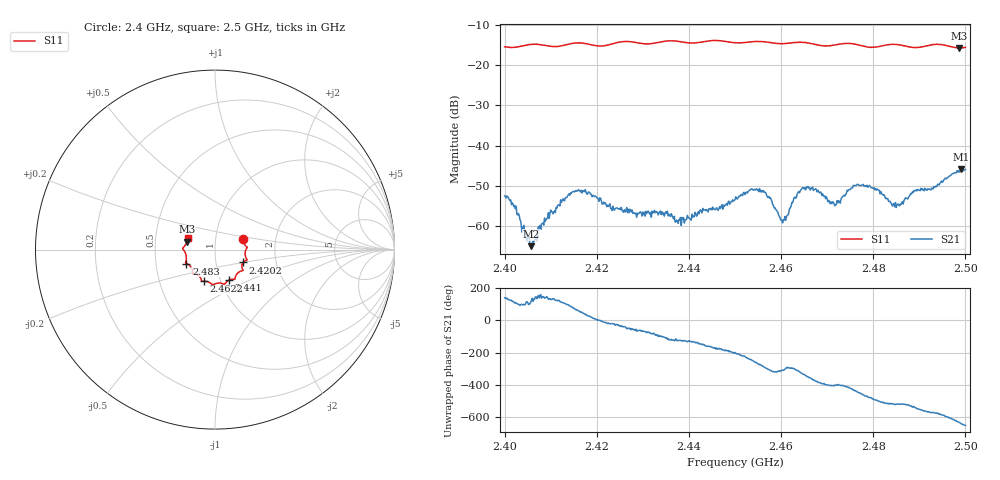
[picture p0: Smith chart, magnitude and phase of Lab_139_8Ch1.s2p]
# Hz S RI R 50
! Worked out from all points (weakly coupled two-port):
!   601 points, 2.4 GHz to 2.5 GHz, reference 50 ohm
!   highest |S21| = -45.77 dB at 2.499 GHz (marker M1); lowest = -64.9 dB at 2.4058 GHz (marker M2)
!   lowest |S11| = -15.8 dB at 2.4987 GHz (marker M3), VSWR 1.39, Z = 36.4 + j3.3 ohm
!   |S11| at or under -10 dB: start of sweep to end of sweep
!   S12 and S22 are empty: the file has one direction only
!   S11 on the Smith chart (normalised r, x): 2.4 GHz: 1.36, +0.17; 2.4202 GHz: 1.35, -0.20; 2.441 GHz: 1.10, -0.39; 2.4622 GHz: 0.83, -0.30; 2.483 GHz: 0.72, -0.12; 2.5 GHz: 0.73, +0.09
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2.4e9  0.1564 0.0604  -0.00186 0.0015  0 0  0 0
2.405833e9  0.1791 0.0138  -0.000336 0.000457  0 0  0 0
2.412667e9  0.17 -0.0377  -0.00077 0.00205  0 0  0 0
2.416667e9  0.1776 -0.0585  0.00169 0.00222  0 0  0 0
2.420167e9  0.1561 -0.0718  0.00223 0.000222  0 0  0 0
2.4235e9  0.1512 -0.1035  0.00164 -0.000672  0 0  0 0
2.433333e9  0.113 -0.1524  -0.00022 -0.00137  0 0  0 0
2.441e9  0.0769 -0.1704  -0.000904 -0.000976  0 0  0 0
2.45e9  0.0267 -0.1863  -0.00201 0.000693  0 0  0 0
2.455833e9  -0.0132 -0.1944  0.000565 0.00272  0 0  0 0
2.4605e9  -0.048 -0.1771  0.000784 0.000904  0 0  0 0
2.462167e9  -0.0631 -0.1764  0.000827 0.00157  0 0  0 0
2.464333e9  -0.0734 -0.1761  0.00237 0.00158  0 0  0 0
2.466667e9  -0.0766 -0.1668  0.00295 -0.000132  0 0  0 0
2.4715e9  -0.1105 -0.1369  0.00137 -0.00132  0 0  0 0
2.476167e9  -0.1253 -0.1296  0.000676 -0.00311  0 0  0 0
2.483e9  -0.1592 -0.078  -0.002 -0.000881  0 0  0 0
2.483333e9  -0.1609 -0.0772  -0.00186 -0.000831  0 0  0 0
2.4855e9  -0.1635 -0.0708  -0.00177 -0.000655  0 0  0 0
2.498667e9  -0.1559 0.0441  0.000366 0.00468  0 0  0 0
2.499e9  -0.1549 0.0487  0.000907 0.00506  0 0  0 0
2.5e9  -0.1528 0.0628  0.00204 0.00461  0 0  0 0
